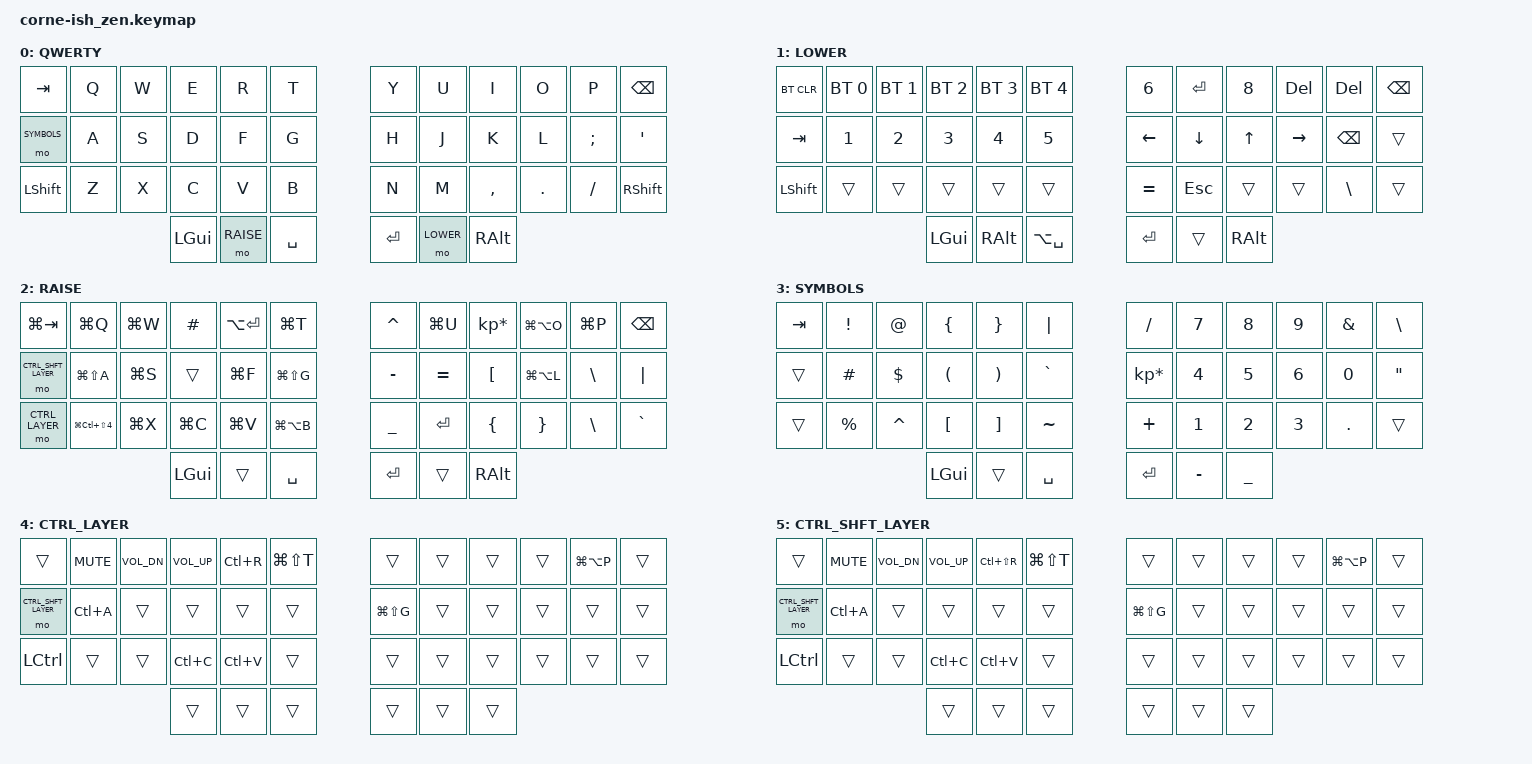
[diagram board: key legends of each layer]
/*
*
* Copyright (c) 2021 Darryl deHaan
* SPDX-License-Identifier: MIT
*
*/

#include <behaviors.dtsi>
#include <dt-bindings/zmk/keys.h>
#include <dt-bindings/zmk/bt.h>

#define BASE 0
#define LOWER 1
#define RAISE 2
#define SYMBOLS 3
#define CTRL_LAYER 4
#define CTRL_SHFT_LAYER 5

/ {
        keymap {
                compatible = "zmk,keymap";

                default_layer {
                        label = "QWERTY";
// -----------------------------------------------------------------------------------------
// |  TAB    |  Q  |  W  |  E  |  R  |  T  |   |  Y  |  U   |  I  |  O  |  P  | BKSP  |
// | SYMBOLS |  A  |  S  |  D  |  F  |  G  |   |  H  |  J   |  K  |  L  |  ;  |  '    |
// | SHFT    |  Z  |  X  |  C  |  V  |  B  |   |  N  |  M   |  ,  |  .  |  /  | RSHFT |
//                       | GUI | RSE | SPC |   | ENT | LWR  | ALT |
                        bindings = <
   &kp TAB     &kp Q &kp W &kp E &kp R &kp T   &kp Y &kp U  &kp I     &kp O   &kp P    &kp BSPC
   &mo SYMBOLS &kp A &kp S &kp D &kp F &kp G   &kp H &kp J  &kp K     &kp L   &kp SEMI &kp SQT
   &kp LSHFT   &kp Z &kp X &kp C &kp V &kp B   &kp N &kp M  &kp COMMA &kp DOT &kp FSLH &kp RSHFT
                &kp LGUI &mo RAISE &kp SPACE   &kp RET &mo LOWER &kp RALT
                        >;
                };

                lower_layer {
                        label = "LOWER";
// -----------------------------------------------------------------------------------------
// | BTCLR |  BT1  |  BT2  | BT3 | BT4 | BT5 |   |  6  | ENT |  8  | DEL |  DEL | BKSP |
// |  TAB  |   1   |   2   |  3  |  4  |  5  |   | LFT | DWN |  UP | RGT | BKSP |      |
// | SHFT  |       |       |     |     |     |   |  =  | ESC |     |     |  \   |      |
//                    | GUI | ALT | ALT + SPC |   | ENT |     | ALT |
                        bindings = <
   &bt BT_CLR &bt BT_SEL 0 &bt BT_SEL 1 &bt BT_SEL 2 &bt BT_SEL 3 &bt BT_SEL 4         &kp N6      &kp RET    &kp N8   &kp DEL     &kp DEL    &kp BSPC
   &kp TAB    &kp N1       &kp N2       &kp N3       &kp N4       &kp N5               &kp LEFT    &kp DOWN   &kp UP   &kp RIGHT   &kp BSPC   &trans
   &kp LSHFT  &trans       &trans       &trans       &trans       &trans               &kp EQUAL   &kp ESC    &trans   &trans      &kp BSLH   &trans
                          	        &kp LGUI     &kp RALT      &kp LA(SPACE)             &kp RET   &trans   &kp RALT
                        >;
                };

                raise_layer {
                        label = "RAISE";
// -----------------------------------------------------------------------------------------
// | GUI_TAB         |  GUI_Q           |  GUI_W  |  #    |  ALT_ENT |  GUI_T     |   |  ^  |  GUI_U |  *  |   GUI_ALT_O |  GUI_P  | BKSP |
// | CTRL_SHFT_LAYER |  GUI_SHFT_A      |  GUI_S  |       |  GUI_F   |  GUI_SFT_G |   |  -  |  =     |  [  |  GUI_ALT_L  |      \  | "|"  |
// |       CTRL      |  GUI_CTRL_SHFT_4 |  GUI_X  | GUI_C |  GUI_V   |  GUI_ALT_B |   |  _  |  ENT   |  {  |     }       |      \  |  `   |
//                            | GUI   |         | SPC     |   | ENT |      | ALT |
                        bindings = <
   &kp  LG(TAB)         &kp LG(Q)          &kp LG(W) &kp HASH  &kp LA(RET) &kp LG(T)       &kp CARET &kp LG(U)  &kp KP_MULTIPLY &kp LG(LA(O))  &kp LG(P) &kp BSPC
   &mo CTRL_SHFT_LAYER  &kp LG(LS(A))      &kp LG(S) &trans    &kp LG(F)   &kp LG(LS(G))   &kp MINUS &kp EQUAL  &kp LBKT        &kp LG(LA(L))  &kp BSLH      &kp PIPE
   &mo CTRL_LAYER       &kp LG(LC(LS(N4))) &kp LG(X) &kp LG(C) &kp LG(V)   &kp LG(LA(B))   &kp UNDER &kp RET    &kp LBRC        &kp RBRC       &kp BSLH      &kp GRAVE
                    	     &kp LGUI &trans   &kp SPACE   &kp RET   &trans    &kp RALT
                        >;
                };

		symbols_layer {
					label = "SYMBOLS";
		// -----------------------------------------------------------------------------------------
		// |  TAB |  !  |  @  |  {  |  }  |  |  |   |  /  |  7  |  8  |  9  |  &  |   \  |
		// |      |  #  |  $  |  (  |  )  |  `  |   |  *  |  4  |  5  |  6  |  0  |   "  |
		// |      |  %  |  ^  |  [  |  ]  |  ~  |   |  +  |  1  |  2  |  3  |  .  |      |
		//                    | GUI |     | SPC |   |     |  _  |  -  |
					bindings = <
		   &kp TAB &kp EXCL  &kp AT    &kp LBRC &kp RBRC &kp PIPE           &kp FSLH        &kp N7   &kp N8   &kp N9 &kp AMPS &kp BSLH
		   &trans  &kp HASH  &kp DLLR  &kp LPAR &kp RPAR &kp GRAVE          &kp KP_MULTIPLY &kp N4   &kp N5   &kp N6 &kp N0   &kp DQT
		   &trans  &kp PRCNT &kp CARET &kp LBKT &kp RBKT &kp TILDE          &kp PLUS        &kp N1   &kp N2   &kp N3 &kp DOT  &trans
				               &kp LGUI     &trans       &kp SPACE               &kp RET  &kp MINUS &kp UNDER
					>;
				};

                ctrl_layer {
                        label = "CTRL_LAYER";
// -----------------------------------------------------------------------------------------
// |                 | MUTE   | VOL_DOWN | VOL_UP |  CTRL_R |  CMD_SHFT_T |          |     |      |     |     | GUI_ALT_P |      |
// | CTRL_SHFT_LAYER | CTRL_A |          |        |         |  CMD_SHFT_G |          |     |      |     |     |           |      |
// | CTRL            |        |          | CTRL_C |  GUI_V  |             |          |     |      |     |     |           |      |
//                      |     |      |      |               |     |      |     |
                        bindings = <
   &trans                &kp C_MUTE  &kp C_VOL_DN  &kp C_VOL_UP  &kp LC(R) &kp LG(LS(T))          &trans          &trans &trans &trans &kp LG(LA(P)) &trans
   &mo CTRL_SHFT_LAYER   &kp LC(A)   &trans        &trans        &trans    &trans                 &kp LG(LS(G))   &trans &trans &trans &trans        &trans
   &kp LCTRL             &trans      &trans        &kp LC(C)     &kp LC(V) &trans                 &trans          &trans &trans &trans &trans        &trans
                    	     &trans &trans   &trans               &trans   &trans    &trans
                        >;
                };

                ctrl_shft_layer {
                        label = "CTRL_SHFT_LAYER";
// -----------------------------------------------------------------------------------------
// |                 | MUTE   | VOL_DOWN | VOL_UP |  CTRL_SHFT_R |  CMD_SHFT_T |          |     |      |     |     | GUI_ALT_P |      |
// | CTRL_SHFT_LAYER | CTRL_A |          |        |              |  CMD_SHFT_G |          |     |      |     |     |           |      |
// | CTRL            |        |          | CTRL_C |  GUI_V       |             |          |     |      |     |     |           |      |
//                                            |     |      |      |               |     |      |     |
                        bindings = <
   &trans                &kp C_MUTE  &kp C_VOL_DN  &kp C_VOL_UP  &kp LC(LS(R)) &kp LG(LS(T))          &trans          &trans &trans &trans &kp LG(LA(P)) &trans
   &mo CTRL_SHFT_LAYER   &kp LC(A)   &trans        &trans        &trans        &trans                 &kp LG(LS(G))   &trans &trans &trans &trans        &trans
   &kp LCTRL             &trans      &trans        &kp LC(C)     &kp LC(V)     &trans                 &trans          &trans &trans &trans &trans        &trans
                    	     &trans &trans   &trans               &trans   &trans    &trans
                        >;
                };
	};
};
